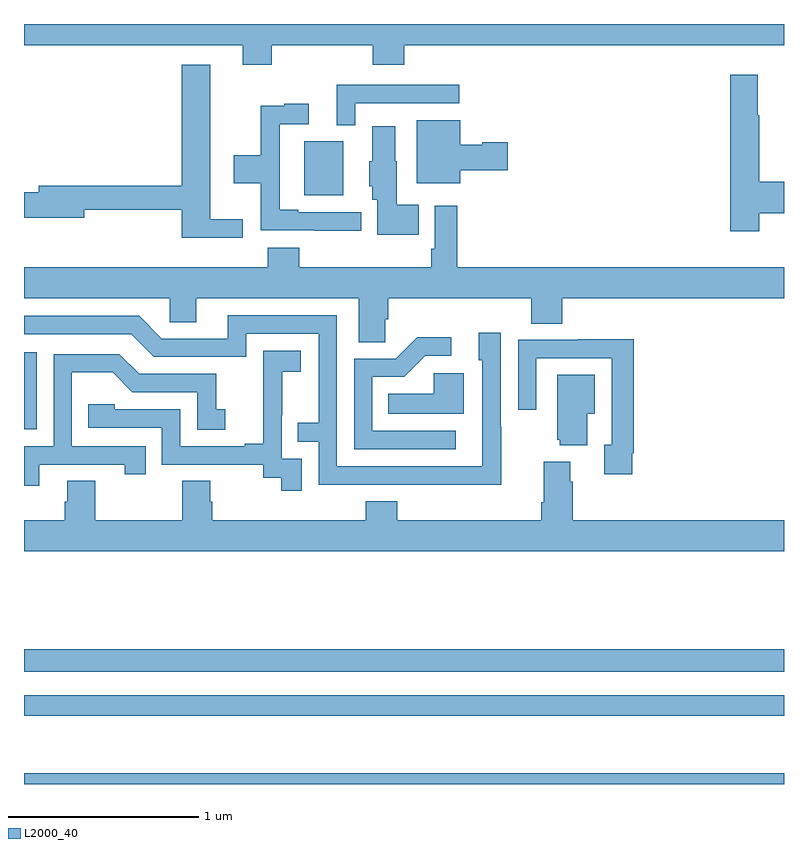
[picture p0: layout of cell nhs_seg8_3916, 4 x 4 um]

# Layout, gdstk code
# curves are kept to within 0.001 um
import gdstk
lib = gdstk.Library(unit=1e-6, precision=1e-09)
def R(c, l, rs):  # rectangles x0, y0, x1, y1
    for r in rs: c.add(gdstk.rectangle(r[:2], r[2:], *l))
def P(c, l, *ps):  # polygons
    for p in ps: c.add(gdstk.Polygon(p, *l))
L2000_40 = (2000, 40)

nhs_seg8_3916 = lib.new_cell('nhs_seg8_3916')
R(nhs_seg8_3916, L2000_40, [(351,1157.9,355,1157.956), (351,1158.258,355,1158.366), (351,1158.492,355,1158.608), (351,1159.767,351.066,1160.173), (352.475,1160.999,352.681,1161.283)])
P(nhs_seg8_3916, L2000_40, [(352.304,1161.788),(352.835,1161.788),(352.835,1161.686),(353,1161.686),(353,1161.788),(355,1161.788),(355,1161.9),(351,1161.9),(351,1161.788),(352.151,1161.788),(352.151,1161.686),(352.304,1161.686)],
  [(352.15,1160.873),(351.979,1160.873),(351.979,1161.685),(351.83,1161.685),(351.83,1161.05),(351.077,1161.05),(351.077,1161.014),(351,1161.014),(351,1160.879),(351.316,1160.879),(351.316,1160.922),(351.83,1160.922),(351.83,1160.774),(352.15,1160.774)],
  [(354.87,1160.903),(355,1160.903),(355,1161.069),(354.87,1161.069),(354.87,1161.421),(354.862,1161.421),(354.862,1161.634),(354.716,1161.634),(354.716,1160.808),(354.87,1160.808)],
  [(352.743,1161.483),(353.29,1161.483),(353.29,1161.579),(352.646,1161.579),(352.646,1161.368),(352.743,1161.368)],
  [(352.774,1160.91),(352.444,1160.91),(352.444,1160.923),(352.347,1160.923),(352.347,1161.372),(352.498,1161.372),(352.498,1161.481),(352.37,1161.481),(352.37,1161.47),(352.246,1161.47),(352.246,1161.21),(352.104,1161.21),(352.104,1161.062),(352.246,1161.062),(352.246,1160.814),(352.531,1160.814),(352.531,1160.813),(352.774,1160.813)],
  [(353.296,1161.131),(353.545,1161.131),(353.545,1161.278),(353.412,1161.278),(353.412,1161.265),(353.296,1161.265),(353.296,1161.394),(353.066,1161.394),(353.066,1161.062),(353.296,1161.062)],
  [(353.078,1160.95),(352.963,1160.95),(352.963,1161.177),(352.954,1161.177),(352.954,1161.361),(352.832,1161.361),(352.832,1161.177),(352.817,1161.177),(352.817,1161.045),(352.832,1161.045),(352.832,1160.976),(352.859,1160.976),(352.859,1160.792),(353.078,1160.792)],
  [(352.902,1160.347),(352.916,1160.347),(352.916,1160.456),(353.669,1160.456),(353.669,1160.323),(353.834,1160.323),(353.834,1160.456),(355,1160.456),(355,1160.62),(353.279,1160.62),(353.279,1160.944),(353.163,1160.944),(353.163,1160.716),(353.143,1160.716),(353.143,1160.62),(352.448,1160.62),(352.448,1160.722),(352.283,1160.722),(352.283,1160.62),(351,1160.62),(351,1160.456),(351.768,1160.456),(351.768,1160.329),(351.907,1160.329),(351.907,1160.456),(352.763,1160.456),(352.763,1160.224),(352.902,1160.224)],
  [(353.511,1159.781),(353.508,1159.781),(353.508,1160.275),(353.393,1160.275),(353.393,1160.13),(353.412,1160.13),(353.411,1159.572),(352.647,1159.572),(352.647,1160.367),(352.073,1160.367),(352.073,1160.244),(351.726,1160.244),(351.606,1160.364),(351,1160.364),(351,1160.268),(351.564,1160.268),(351.684,1160.148),(352.17,1160.148),(352.17,1160.271),(352.551,1160.271),(352.551,1159.802),(352.441,1159.802),(352.441,1159.701),(352.551,1159.701),(352.551,1159.476),(353.511,1159.475)],
  [(353.272,1159.758),(352.833,1159.758),(352.833,1160.043),(353.002,1160.043),(353.113,1160.154),(353.248,1160.154),(353.248,1160.252),(353.069,1160.252),(352.956,1160.139),(352.737,1160.139),(352.737,1159.662),(353.272,1159.662)],
  [(354.202,1159.642),(354.209,1159.642),(354.209,1160.24),(353.917,1160.24),(353.917,1160.238),(353.601,1160.238),(353.601,1159.869),(353.697,1159.869),(353.697,1160.142),(354.093,1160.142),(354.093,1159.686),(354.053,1159.686),(354.053,1159.53),(354.202,1159.53)],
  [(352.461,1159.611),(352.356,1159.611),(352.356,1159.841),(352.358,1159.841),(352.358,1160.069),(352.456,1160.069),(352.456,1160.179),(352.258,1160.179),(352.258,1159.973),(352.259,1159.973),(352.259,1159.69),(352.163,1159.69),(352.163,1159.677),(351.822,1159.677),(351.822,1159.872),(351.477,1159.872),(351.477,1159.899),(351.337,1159.899),(351.337,1159.776),(351.726,1159.776),(351.726,1159.581),(352.26,1159.581),(352.26,1159.513),(352.353,1159.513),(352.353,1159.443),(352.461,1159.443)],
  [(351.079,1159.581),(351.53,1159.581),(351.53,1159.53),(351.641,1159.53),(351.641,1159.677),(351.252,1159.677),(351.252,1160.066),(351.466,1160.066),(351.57,1159.962),(351.912,1159.962),(351.912,1159.764),(352.06,1159.764),(352.06,1159.873),(352.011,1159.873),(352.011,1160.058),(351.607,1160.058),(351.502,1160.163),(351.156,1160.163),(351.156,1159.677),(351,1159.677),(351,1159.47),(351.079,1159.47)],
  [(353.314,1160.062),(353.157,1160.062),(353.157,1159.954),(352.918,1159.954),(352.918,1159.85),(353.314,1159.85)],
  [(353.965,1159.85),(354.004,1159.85),(354.004,1160.053),(353.807,1160.053),(353.807,1159.713),(353.819,1159.713),(353.819,1159.682),(353.965,1159.682)],
  [(355,1159.288),(353.888,1159.288),(353.888,1159.49),(353.875,1159.49),(353.875,1159.597),(353.735,1159.597),(353.735,1159.384),(353.723,1159.384),(353.723,1159.288),(352.964,1159.288),(352.964,1159.387),(352.799,1159.387),(352.799,1159.288),(351.992,1159.288),(351.992,1159.386),(351.979,1159.386),(351.979,1159.496),(351.832,1159.496),(351.832,1159.288),(351.375,1159.288),(351.375,1159.496),(351.227,1159.496),(351.227,1159.386),(351.215,1159.386),(351.215,1159.288),(351,1159.288),(351,1159.124),(355,1159.124)])

lib.write_gds('nhs_seg8_3916.gds')
